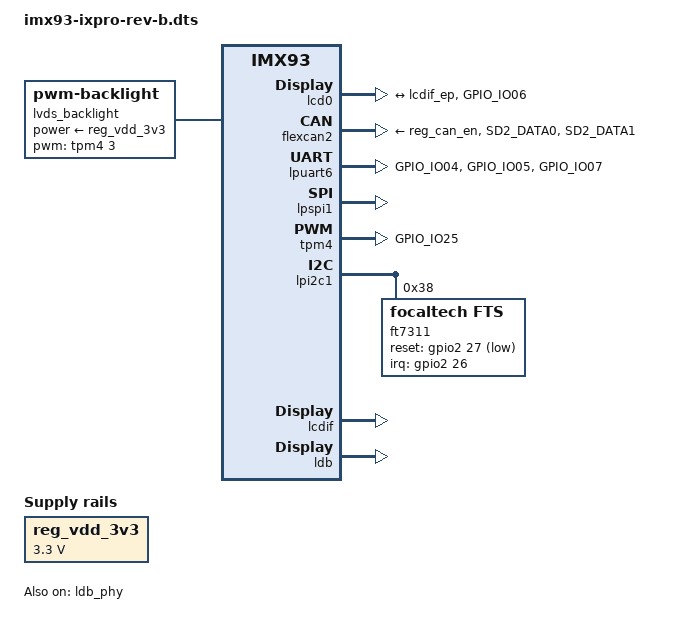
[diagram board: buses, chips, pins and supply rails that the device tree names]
/dts-v1/;

#include "imx93-ixpro-rev-a.dts"

/delete-node/ &{/led-controller/led-grn};
/delete-node/ &{/led-controller/led-blue};
/delete-node/ &{/led-controller/led-red};
/delete-node/ &{/led-controller/led-can-tx};
/delete-node/ &{/led-controller/led-can-rx};
/delete-node/ &{pinctrl_tp_gpio};
/delete-node/ &{/ethosu};
/delete-node/ &ethosu_mem;

&{/} {
    model = "ithinx iXpro Rev B";
};

/*
Total RAM: 512 MB
size  = 0x20000000
start = 0x80000000
end   = 0xA0000000
*/

// 64M
&{/reserved-memory/linux,cma} {
    alloc-ranges = <0 0x80000000 0 0x10000000>;
    size = <0 0x4000000>;
};

&vdev0vring0 {
    reg = <0 0x84000000 0 0x8000>;
};

&vdev0vring1 {
    reg = <0 0x84008000 0 0x8000>;
};

&vdev1vring0 {
    reg = <0 0x84010000 0 0x8000>;
};

&vdev1vring1 {
    reg = <0 0x84018000 0 0x8000>;
};

&vdevbuffer {
    reg = <0 0x84020000 0 0x100000>;
};

&ele_reserved {
    reg = <0 0x84120000 0 0x100000>;
};

&flexcan1 {
    status = "disabled";
};

&flexcan2 {
    pinctrl-names = "default";
    pinctrl-0 = <&pinctrl_flexcan2>, <&pinctrl_can_gpio>;
    xceiver-supply = <&reg_can_en>;
    status = "okay";
};

&lpuart6 { /* RS485 */
  pinctrl-names = "default";
  pinctrl-0 = <&pinctrl_uart6>;
  linux,rs485-enabled-at-boot-time;
  status = "okay";
};

&lpspi1 { /* 802.15.4 */
    fsl,spi-num-chipselects = <1>;
    pinctrl-names = "default", "sleep";
    pinctrl-0 = <&pinctrl_lpspi1>;
    pinctrl-1 = <&pinctrl_lpspi1>;
    cs-gpios = <&gpio1 8 GPIO_ACTIVE_LOW>;
    status = "okay";
};

&reg_lte_en {
    gpio = <&gpio1 9 GPIO_ACTIVE_HIGH>;
};

&tpm4 {
    pinctrl-names = "default";
    pinctrl-0 = <&pinctrl_tpm4_ch3>;
    status = "okay";
};

&lpi2c1 {
    ft7311: touchscreen@38 {
        compatible = "focaltech,fts";
        reg = <0x38>;
        pinctrl-names = "default";
        pinctrl-0 = <&pinctrl_touchscreen_gpio>;
        reset-gpio = <&gpio2 27 GPIO_ACTIVE_LOW>;
        irq-gpio = <&gpio2 26 IRQ_TYPE_EDGE_FALLING>;
        touchscreen-size-x = <1024>;
        touchscreen-size-y = <600>;
        max-touch-number = <10>;
        status = "okay";
    };
};

&led_controller {

    led-white {
        color = <LED_COLOR_ID_WHITE>;
        function = LED_FUNCTION_DEBUG;
        gpios = <&gpio4 26 GPIO_ACTIVE_HIGH>;
        linux,default-trigger = "heartbeat";
        default-state = "off";
    };

    led-rgb-red {
        color = <LED_COLOR_ID_RED>;
        function = LED_FUNCTION_STATUS;
        gpios = <&gpio4 28 GPIO_ACTIVE_HIGH>;
        default-state = "off";
    };

    led-rgb-blue {
        color = <LED_COLOR_ID_BLUE>;
        function = LED_FUNCTION_STATUS;
        gpios = <&gpio4 24 GPIO_ACTIVE_HIGH>;
        default-state = "off";
    };

    led-rgb-green {
        color = <LED_COLOR_ID_GREEN>;
        function = LED_FUNCTION_STATUS;
        gpios = <&gpio4 29 GPIO_ACTIVE_HIGH>;
        default-state = "off";
    };

    led-red {
        color = <LED_COLOR_ID_RED>;
        function = LED_FUNCTION_DEBUG;
        gpios = <&gpio4 25 GPIO_ACTIVE_HIGH>;
        default-state = "off";
    };
};

&{/} {
    reg_vdd_3v3: regulator-vdd-3v3 {
        compatible = "regulator-fixed";
        regulator-name = "vdd_3v3";
        regulator-min-microvolt = <3300000>;
        regulator-max-microvolt = <3300000>;
    };

    lvds_backlight: lvds_backlight {
        compatible = "pwm-backlight";
        pwms = <&tpm4 3 100000 0>;
        power-supply = <&reg_vdd_3v3>;
        status = "okay";

        brightness-levels = <
             0  1  2  3  4  5  6  7  8  9
            10 11 12 13 14 15 16 17 18 19
            20 21 22 23 24 25 26 27 28 29
            30 31 32 33 34 35 36 37 38 39
            40 41 42 43 44 45 46 47 48 49
            50 51 52 53 54 55 56 57 58 59
            60 61 62 63 64 65 66 67 68 69
            70 71 72 73 74 75 76 77 78 79
            80 81 82 83 84 85 86 87 88 89
            90 91 92 93 94 95 96 97 98 99
            100
        >;
        default-brightness-level = <80>;
    };

    lcd0: display@0 {
        compatible = "panel-lvds";
        pinctrl-names = "default";
        pinctrl-0 = <&pinctrl_lcdif_gpio>;
        backlight = <&lvds_backlight>;
        power-supply = <&reg_vdd_3v3>;
        enable-gpios = <&gpio2 6 GPIO_ACTIVE_HIGH>;

        data-mapping = "vesa-24";
        width-mm = <155>;
        height-mm = <87>;

        panel-timing {
            clock-frequency = <65000000>;
        
            hactive = <1024>;
            vactive = <600>;

            hsync-len = <35>;
            hback-porch = <160>;
            hfront-porch = <16 160 216>;

            vsync-len = <10>;
            vback-porch = <23>;
            vfront-porch = <1 12 127>;

            hsync-active = <1>;
            vsync-active = <1>;
            pixelclk-active = <1>;
            de-active = <1>;
        };

        port {
            display_ep: endpoint {
                remote-endpoint = <&lcdif_ep>;
            };
        };
    };
};

&lcdif {
    assigned-clock-rates = <484000000>, <65000000>, <400000000>, <133333333>;
    status = "okay";
};

&ldb {
    status = "okay";

    lvds-channel@0 {
        status = "okay";

        port@1 {
            reg = <1>;

            lcdif_ep: endpoint {
                remote-endpoint = <&display_ep>;
            };
        };
    };
};

&ldb_phy {
    status = "okay";
};

&iomuxc {

    pinctrl-0 = <&pinctrl_hwrev_gpio>, <&pinctrl_ext_gpio>;

    pinctrl_flexcan2: flexcan2grp {
        fsl,pins = <
            MX93_PAD_SD2_DATA0__CAN2_TX			0x11E /* CAN2_TXD */
            MX93_PAD_SD2_DATA1__CAN2_RX 		0x51E /* CAN2_RXD */
        >;
    };

    pinctrl_uart6: uart6grp {
        fsl,pins = <
            MX93_PAD_GPIO_IO04__LPUART6_TX      0x31E /* RS485_TXD */
            MX93_PAD_GPIO_IO05__LPUART6_RX      0x31E /* RS485_RXD */
            MX93_PAD_GPIO_IO07__LPUART6_RTS_B   0x11E /* RS485_DE */
        >;
    };

    pinctrl_tpm4_ch3: tpm4ch3grp {
        fsl,pins = <
            MX93_PAD_GPIO_IO25__TPM4_CH3        0x11E /* LCD_BKLT_PWM */
        >;
    };

    pinctrl_lcdif_gpio: lcdif-gpiogrp {
        fsl,pins = <
            MX93_PAD_GPIO_IO06__GPIO2_IO06      0x11E /* STBYB/RS485/nRE */
        >;
    };

    pinctrl_touchscreen_gpio: touchscreen-gpiogrp {
        fsl,pins = <
            MX93_PAD_GPIO_IO26__GPIO2_IO26		0x11E /* CTP_INT */
            MX93_PAD_GPIO_IO27__GPIO2_IO27		0x11E /* CTP_RES */
        >;
    };
};

&pinctrl_iw612_gpio {
    fsl,pins = <
        MX93_PAD_SD2_CD_B__GPIO3_IO00       0x11E /* WL_WAKE_INx */
        MX93_PAD_SD2_CLK__GPIO3_IO01		0x11E /* IND_RST_WLx */
        MX93_PAD_SD2_CMD__GPIO3_IO02        0x11E /* IND_RST_BTx */
        MX93_PAD_SD2_DATA2__GPIO3_IO05      0x11E /* IND_RST_15_4x */
        MX93_PAD_SD2_DATA3__GPIO3_IO06      0x11E /* PDnx */
        MX93_PAD_SD2_RESET_B__GPIO3_IO07    0x11E /* BT_15.4_WAKE_INx */
        MX93_PAD_CCM_CLKO1__GPIO3_IO26      0x51E /* WL_WAKE_OUTx */
        MX93_PAD_ENET2_TX_CTL__GPIO4_IO20   0x51E /* BT_15.4_WAKE_OUTx */
        MX93_PAD_SD2_VSELECT__GPIO3_IO19    0x51E /* SPI_INTx */
        MX93_PAD_ENET2_TXC__GPIO4_IO21      0x51E /* RST_INDx */
    >;
};

&pinctrl_lpspi1 {
    fsl,pins = <
        MX93_PAD_PDM_CLK__GPIO1_IO08        0x51E /* SPI1_CS1 */
        MX93_PAD_SAI1_TXC__LPSPI1_SIN       0x51E /* SPI1_MOSI */
        MX93_PAD_SAI1_RXD0__LPSPI1_SOUT     0x11E /* SPI1_MISO */
        MX93_PAD_SAI1_TXD0__LPSPI1_SCK      0x11E /* SPI1_CLK */
        >;
};

&pinctrl_ext_gpio {
    fsl,pins = <
        MX93_PAD_GPIO_IO00__GPIO2_IO00 		0x51E /* EXT_GPIO_0 */
        MX93_PAD_GPIO_IO01__GPIO2_IO01 		0x51E /* EXT_GPIO_1 */
        MX93_PAD_GPIO_IO03__GPIO2_IO03 		0x51E /* EXT_GPIO_2 */
        MX93_PAD_GPIO_IO08__GPIO2_IO08 		0x51E /* EXT_GPIO_3 */
        MX93_PAD_GPIO_IO02__GPIO2_IO02 		0x11E /* EXT_5V_EN */
        MX93_PAD_GPIO_IO23__GPIO2_IO23 		0x31E /* EXT_WKUP_GPIO */
    >;
};

&pinctrl_lte_gpio {
    fsl,pins = <
        MX93_PAD_GPIO_IO24__GPIO2_IO24 		    0x51E /* LTE_WKUP_INT */
        MX93_PAD_GPIO_IO09__GPIO2_IO09 		    0x11E /* LTE_PWRKEY */
        MX93_PAD_GPIO_IO10__GPIO2_IO10          0x11E /* LTE_USB_BOOT */
        MX93_PAD_GPIO_IO11__GPIO2_IO11 		    0x11E /* LTE_RST */
        MX93_PAD_PDM_BIT_STREAM0__GPIO1_IO09 	0x11E /* LTE_EN */
    >;
};

&pinctrl_led_gpio {
    fsl,pins = <
        MX93_PAD_ENET2_RD0__GPIO4_IO24 		0x11E /* DBG_RGB_RED */ /* falsely define DBG_RGB_BLU in schematics */
        MX93_PAD_CCM_CLKO3__GPIO4_IO28 		0x11E /* DBG_RGB_BLU */ /* falsely define DBG_RGB_RED in schematics */
        MX93_PAD_CCM_CLKO4__GPIO4_IO29 		0x11E /* DBG_RGB_GRN */
        MX93_PAD_ENET2_RD1__GPIO4_IO25 		0x11E /* DBG_LED_RED */
        MX93_PAD_ENET2_RD2__GPIO4_IO26 		0x11E /* DBG_LED_WHT */
        MX93_PAD_GPIO_IO26__GPIO2_IO26 		0x11E /* CAN_TXD_LED */
    >;
};

&gpio1 {
    gpio-line-names = "I2C1_SCL", "I2C1_SDA", "I2C2_SCL", "I2C2_SDA",
                      "UART1_RXD", "UART1_TXD", "UART2_RXD", "UART2_TXD",
                      "SPI1_CS1", "LTE_EN", "CAN_EN", "SPI1_CS0",
                      "SPI1_MISO", "SPI1_CLK", "SPI1_MOSI" ,"WDOG_B",
                      "", "", "", "",
                      "", "", "", "",
                      "", "", "", "",
                      "", "", "", "";
};

&gpio2 {
    gpio-line-names = "EXT_GPIO_0", "EXT_GPIO_1", "EXT_5V_EN", "EXT_GPIO_2",
                      "RS485_TXD", "RS485_RXD", "RS485_nRE", "RS485_DE",
                      "EXT_GPIO_3", "LTE_PWRKEY", "LTE_USB_BOOT", "LTE_RST",
                      "RTC_INTn", "RS485_WKUP", "EXT_UART_TXD" ,"EXT_UART_RXD",
                      "EXT_UART_CTS", "EXT_UART_RTS", "EXT_SPI_CSn", "EXT_SPI_MISO",
                      "EXT_SPI_MOSI", "EXT_SPI_CLK", "ACC_INT", "EXT_WKUP_GPIO",
                      "LTE_WKUP_INT", "TP510", "CTP_INT", "CTP_RES",
                      "EXT_I2C_SCL", "EXT_I2C_SDA", "", "";
};

&gpio3 {
    gpio-line-names = "WL_WAKE_INx", "IND_RST_WLx", "IND_RST_BTx", "CAN2_TXD",
                      "CAN2_RXD", "IND_RST_15_4x", "PDnx", "BT_15.4_WAKE_INx",
                      "SD1_CLK", "SD1_CMD", "SD1_DATA0", "SD1_DATA1",
                      "SD1_DATA2", "SD1_DATA3", "SD1_DATA4" ,"SD1_DATA5",
                      "SD1_DATA6", "SD1_DATA7", "SD1_STROBE", "SPI_INTx",
                      "SD3_CLK", "SD3_CMD", "SD3_DATA0", "SD3_DATA1",
                      "SD3_DATA2", "SD3_DATA3", "WL_WAKE_OUTx", "PMIC_INTn",
                      "JTAG_TDI", "JTAG_TMS", "JTAG_TCK", "JTAG_TDO";
};

&gpio4 {
    gpio-line-names = "ENET1_MDC", "ENET1_MDIO", "TP1002", "ENET1_TD2",
                      "ENET1_TD1", "ENET1_TDO", "ENET1_TX_CTL", "TP1003",
                      "ENET1_RX_CTL", "ENET1_RXC", "ENET1_RD0", "ENET1_RD1",
                      "TP1004", "TP1005" ,"ETH_INTn", "ETH_RSTn",
                      "USB_C_FLTn", "USB_C_EN", "USB_CC_EXT_SEL", "USB_CC_INTn",
                      "BT_15.4_WAKE_OUTx", "RST_INDx", "HW_Bit2", "HW_Bit1",
                      "DBG_RGB_BLU", "DBG_LED_RED", "DBG_LED_WHT", "HW_Bit0";
};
